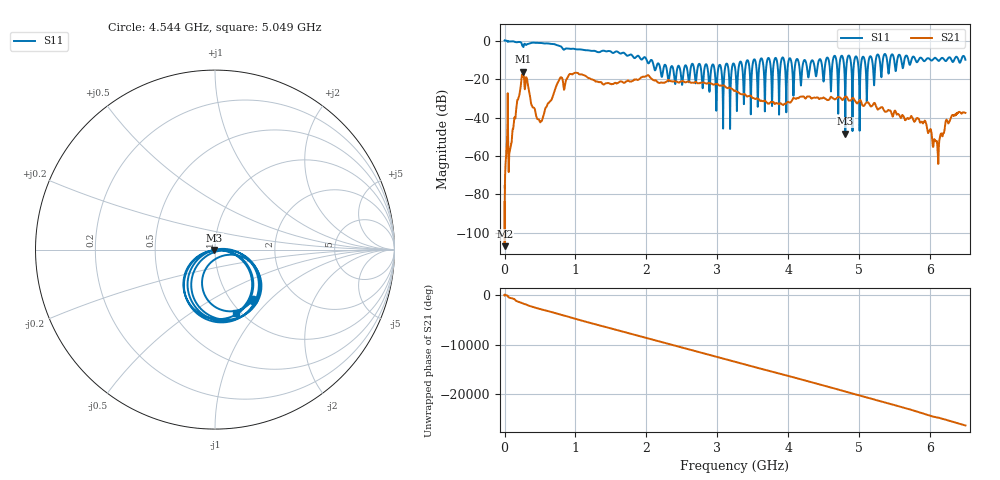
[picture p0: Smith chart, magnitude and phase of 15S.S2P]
!Keysight Technologies,E5063A,MY54503115,A.05.08
!Date: Mon Mar 04 16:10:30 2024
!Data & Calibration Information:
!Freq	S11:NONE(--)	S21:NONE(--)	S12:NONE(--)	S22:NONE(--)
# Hz S dB R 50
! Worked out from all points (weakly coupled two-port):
!   10001 points, 100 kHz to 6.5 GHz, reference 50 ohm
!   highest |S21| = -16.10 dB at 265.3 MHz (marker M1); lowest = -106.9 dB at 1.4 MHz (marker M2)
!   lowest |S11| = -48.4 dB at 4.805 GHz (marker M3), VSWR 1.01, Z = 49.7 - j0.183 ohm
!   |S11| at or under -10 dB: 2.002 GHz to 3.515 GHz (1.513 GHz wide, 54.8 % of centre); 3.531 GHz to 3.608 GHz (77.19 MHz wide, 2.16 % of centre); 4.137 GHz to 4.437 GHz (300.1 MHz wide, 7 % of centre) (the widest 3 of 28)
!   S12 and S22 are empty: the file has one direction only
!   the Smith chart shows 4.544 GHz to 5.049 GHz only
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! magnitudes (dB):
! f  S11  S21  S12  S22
! 100 kHz  0.0  -83.9  -  -
! 1.4 MHz  0.0  -106.9  -  -
! 39.75 MHz  -0.2  -44.3  -  -
! 84.6 MHz  -0.5  -55.3  -  -
! 265.3 MHz  -3.4  -16.1  -  -
! 501.2 MHz  -1.2  -42.5  -  -
! 778.8 MHz  -2.8  -19.7  -  -
! 1.084 GHz  -4.7  -17.5  -  -
! 2.167 GHz  -11.8  -21.8  -  -
! 3.25 GHz  -14.0  -26.1  -  -
! 4.334 GHz  -10.3  -30.1  -  -
! 4.805 GHz  -48.4  -29.2  -  -
! 4.856 GHz  -7.8  -31.2  -  -
! 4.906 GHz  -36.8  -29.9  -  -
! 4.956 GHz  -8.2  -32.1  -  -
! 5.006 GHz  -32.9  -31.1  -  -
! 5.058 GHz  -8.4  -34.0  -  -
! 5.417 GHz  -17.1  -36.1  -  -
! 5.92 GHz  -10.7  -42.1  -  -
! 6.1 GHz  -9.8  -52.9  -  -
! 6.245 GHz  -9.8  -41.6  -  -
! 6.5 GHz  -10.0  -37.6  -  -
